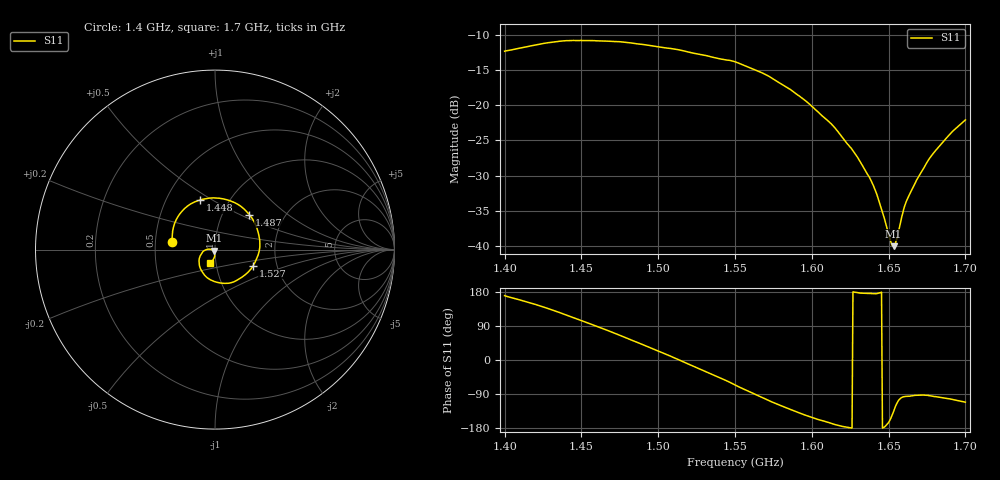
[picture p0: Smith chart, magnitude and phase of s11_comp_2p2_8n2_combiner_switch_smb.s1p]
# GHZ S RI R 50.000000000000
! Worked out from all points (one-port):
!   501 points, 1.4 GHz to 1.7 GHz, reference 50 ohm
!   lowest |S11| = -40.1 dB at 1.653 GHz (marker M1), VSWR 1.02, Z = 49.3 - j0.674 ohm
!   |S11| at or under -10 dB: start of sweep to end of sweep
!   S11 on the Smith chart (normalised r, x): 1.4 GHz: 0.61, +0.06; 1.448 GHz: 0.73, +0.44; 1.487 GHz: 1.34, +0.56; 1.527 GHz: 1.51, -0.28; 1.7 GHz: 0.93, -0.14
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1.4  -0.2384 0.0427
1.4198  -0.2248 0.1463
1.4378  -0.1529 0.2427
1.448  -0.0836 0.276
1.4624  0.0246 0.2861
1.475  0.1186 0.2572
1.487  0.1912 0.1947
1.499  0.2361 0.112
1.5128  0.2487 0.00653
1.5266  0.213 -0.0891
1.5374  0.1611 -0.1456
1.55  0.0837 -0.1859
1.5716  -0.0451 -0.1555
1.5878  -0.0862 -0.0909
1.6124  -0.0723 -0.0169
1.625  -0.0503 -0.00117
1.631  -0.0405 0.00218
1.64  -0.0269 0.00236
1.6454  -0.0183 0.000318
1.6508  -0.0105 -0.00397
1.6532  -0.0072 -0.00684
1.655  -0.00504 -0.00971
1.6598  -0.0022 -0.018
1.6628  -0.0021 -0.0222
1.6694  -0.00161 -0.0308
1.6778  -0.00384 -0.0434
1.691  -0.0151 -0.0623
1.7  -0.0285 -0.0733
